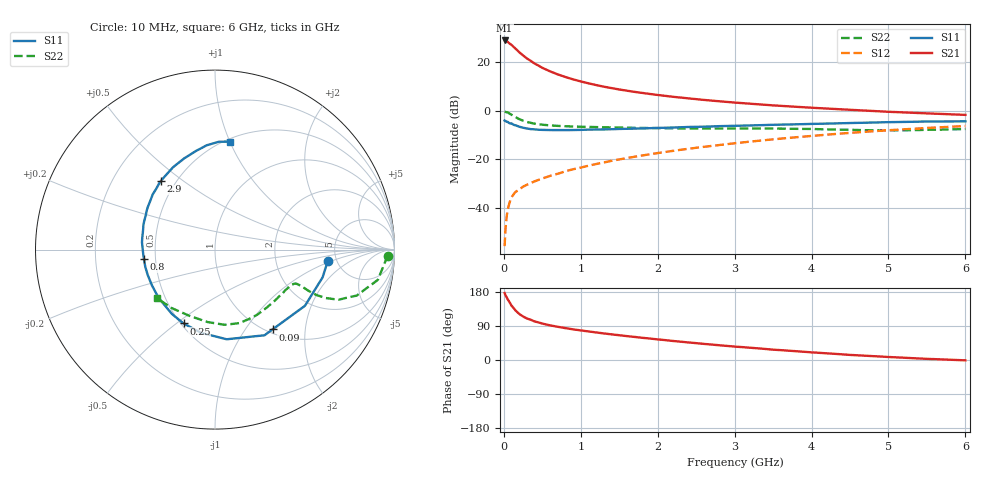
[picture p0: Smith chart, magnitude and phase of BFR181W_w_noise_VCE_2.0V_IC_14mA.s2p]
! Infineon Technologies  Discrete & RF Semiconductors
! BFR181W
! VCE =  2.0 V,  IC =  14 mA
! Common Emitter S-Parameters:  Jan 2017
# GHz  S  MA  R  50
!  f  S11  S21  S12  S22
! GHz  MAG  ANG  MAG  ANG  MAG  ANG  MAG  ANG
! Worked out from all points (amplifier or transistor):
!   77 points, 10 MHz to 6 GHz, reference 50 ohm
!   highest |S21| = 29.1 dB at 10 MHz (marker M1)
!   |S21| within 3 dB of that: start of sweep to 138.5 MHz
!   unconditionally stable (mu >= 1): 555.9 MHz to 2.756 GHz
!   at 130 MHz: K = 0.41, MSG = 30.3 dB, |S12| = -34.4 dB
!   at 2.2 GHz: K = 1.08, MAG = 9.5 dB, |S12| = -16.5 dB
!   at 6 GHz: K = 0.87, MSG = 2.3 dB, |S12| = -6.3 dB
!   lowest NFmin = 1.43 dB at 450 MHz
!   S11 on the Smith chart (normalised r, x): 10 MHz: 4.22, -0.91; 90 MHz: 1.06, -1.35; 250 MHz: 0.52, -0.53; 800 MHz: 0.43, -0.05; 2.9 GHz: 0.42, +0.41; 6 GHz: 0.53, +1.00
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0.01  0.6313 -5.9  28.41 176.6  0.0016 84.3  0.9624 -2.0
0.02  0.6191 -14.5  28.11 171.7  0.0033 89.5  0.9506 -4.1
0.05  0.5909 -32.0  26.59 160.1  0.0091 75.7  0.923 -10.5
0.09  0.5482 -54.2  23.53 147.0  0.0149 68.9  0.8473 -16.4
0.1  0.5513 -60.0  22.99 143.2  0.0164 68.0  0.8299 -18.0
0.15  0.5038 -82.6  19.36 131.0  0.021 61.4  0.7426 -22.1
0.2  0.4699 -99.5  16.27 121.6  0.0237 59.0  0.6738 -23.6
0.25  0.4473 -113.1  13.91 114.8  0.0272 58.0  0.6243 -24.1
0.3  0.4313 -123.9  12.06 109.5  0.0297 57.2  0.5873 -24.0
0.4  0.4139 -139.4  9.479 101.7  0.0349 59.9  0.5421 -23.3
0.5  0.4037 -150.7  7.736 96.1  0.0399 61.8  0.5166 -22.9
0.6  0.4006 -159.3  6.543 91.5  0.0452 63.9  0.4998 -22.7
0.8  0.3995 -172.3  4.998 84.1  0.0564 67.7  0.4805 -23.3
0.9  0.401 -177.2  4.46 80.9  0.062 68.5  0.4744 -24.1
1.1  0.409 174.2  3.698 75.4  0.0735 70.7  0.4654 -25.8
1.5  0.4221 160.9  2.761 65.4  0.099 72.3  0.4508 -31.1
2.1  0.4472 145.2  2.035 52.4  0.1415 72.1  0.4366 -41.9
2.9  0.4861 128.4  1.527 37.2  0.2048 68.7  0.4316 -59.0
3.1  0.4942 124.6  1.442 34.0  0.222 67.3  0.4305 -63.3
4.1  0.5402 107.1  1.136 18.9  0.3121 59.2  0.4174 -85.2
5.1  0.5862 93.1  0.941 7.0  0.4056 48.8  0.3952 -114.2
6  0.6073 81.9  0.824 -0.9  0.4853 38.3  0.4219 -140.2
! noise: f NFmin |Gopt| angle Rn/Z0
0.45  1.43  0.06  16  0.21
0.9  1.48  0.06  32  0.21
1.9  1.92  0.11  -141  0.21
2.4  2.13  0.14  -109  0.27
